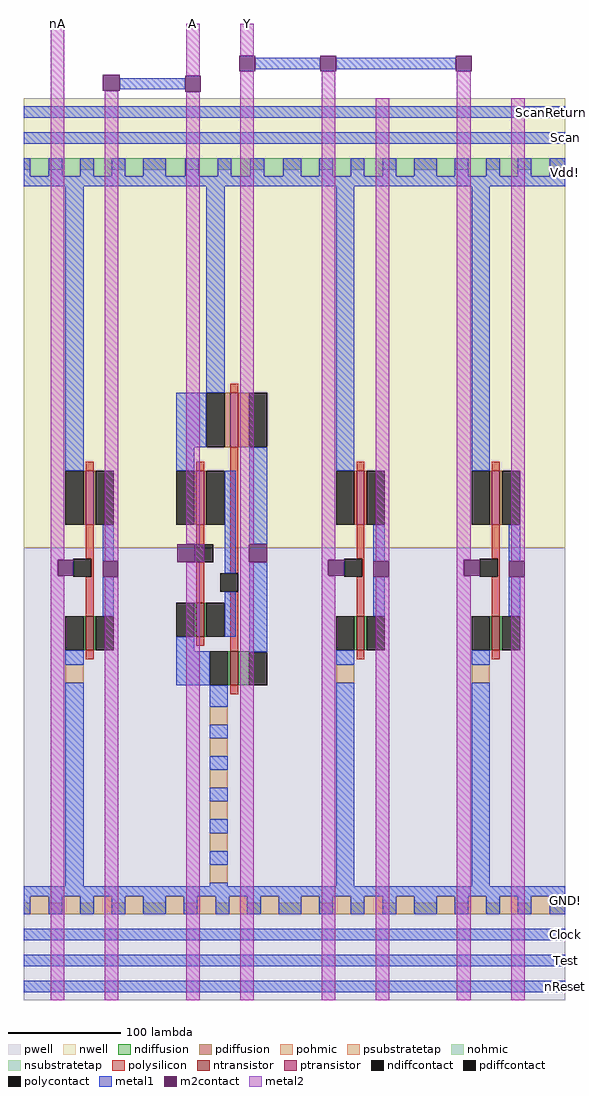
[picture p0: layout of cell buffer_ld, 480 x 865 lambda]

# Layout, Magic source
magic
tech c035u
<< nwell >>
rect 0 401 480 799
<< pwell >>
rect 0 0 480 401
<< polysilicon >>
rect 183 538 190 546
rect 55 469 62 477
rect 153 469 160 477
rect 55 391 62 421
rect 153 404 160 421
rect 60 375 62 391
rect 55 340 62 375
rect 153 352 160 388
rect 183 378 190 490
rect 295 469 302 477
rect 415 469 422 477
rect 295 391 302 421
rect 415 391 422 421
rect 300 375 302 391
rect 420 375 422 391
rect 153 314 160 322
rect 55 302 62 310
rect 183 309 190 362
rect 295 340 302 375
rect 415 340 422 375
rect 295 302 302 310
rect 415 302 422 310
rect 183 271 190 279
<< ndiffusion >>
rect 53 310 55 340
rect 62 310 64 340
rect 151 322 153 352
rect 160 322 162 352
rect 293 310 295 340
rect 302 310 304 340
rect 413 310 415 340
rect 422 310 424 340
rect 181 279 183 309
rect 190 308 216 309
rect 190 279 200 308
<< pdiffusion >>
rect 178 490 183 538
rect 190 490 200 538
rect 53 421 55 469
rect 62 421 64 469
rect 151 421 153 469
rect 160 421 162 469
rect 293 421 295 469
rect 302 421 304 469
rect 413 421 415 469
rect 422 421 424 469
<< pohmic >>
rect 0 76 6 86
rect 22 76 34 86
rect 50 76 62 86
rect 78 76 90 86
rect 106 76 126 86
rect 142 76 154 86
rect 170 76 182 86
rect 198 76 210 86
rect 226 76 246 86
rect 262 76 274 86
rect 290 76 302 86
rect 318 76 330 86
rect 346 76 366 86
rect 382 76 394 86
rect 410 76 422 86
rect 438 76 450 86
rect 466 76 480 86
<< nohmic >>
rect 0 736 6 746
rect 22 736 34 746
rect 50 736 62 746
rect 78 736 90 746
rect 106 736 126 746
rect 143 736 155 746
rect 172 736 184 746
rect 201 736 213 746
rect 230 736 246 746
rect 262 736 274 746
rect 290 736 302 746
rect 318 736 330 746
rect 346 736 366 746
rect 382 736 394 746
rect 410 736 422 746
rect 438 736 450 746
rect 466 736 480 746
<< ntransistor >>
rect 55 310 62 340
rect 153 322 160 352
rect 295 310 302 340
rect 415 310 422 340
rect 183 279 190 309
<< ptransistor >>
rect 183 490 190 538
rect 55 421 62 469
rect 153 421 160 469
rect 295 421 302 469
rect 415 421 422 469
<< polycontact >>
rect 44 375 60 391
rect 152 388 168 404
rect 174 362 190 378
rect 284 375 300 391
rect 404 375 420 391
<< ndiffcontact >>
rect 37 310 53 340
rect 64 310 80 340
rect 135 322 151 352
rect 162 322 178 352
rect 277 310 293 340
rect 304 310 320 340
rect 397 310 413 340
rect 424 310 440 340
rect 165 279 181 309
rect 200 279 216 308
<< pdiffcontact >>
rect 162 490 178 538
rect 200 490 216 538
rect 37 421 53 469
rect 64 421 80 469
rect 135 421 151 469
rect 162 421 178 469
rect 277 421 293 469
rect 304 421 320 469
rect 397 421 413 469
rect 424 421 440 469
<< psubstratetap >>
rect 37 281 53 297
rect 277 281 293 297
rect 397 281 413 297
rect 165 244 181 260
rect 165 216 181 232
rect 165 188 181 204
rect 165 160 181 176
rect 165 132 181 148
rect 165 104 181 120
rect 6 76 22 92
rect 34 76 50 92
rect 62 76 78 92
rect 90 76 106 92
rect 126 76 142 92
rect 154 76 170 92
rect 182 76 198 92
rect 210 76 226 92
rect 246 76 262 92
rect 274 76 290 92
rect 302 76 318 92
rect 330 76 346 92
rect 366 76 382 92
rect 394 76 410 92
rect 422 76 438 92
rect 450 76 466 92
<< nsubstratetap >>
rect 6 730 22 746
rect 34 730 50 746
rect 62 730 78 746
rect 90 730 106 746
rect 126 730 143 746
rect 155 730 172 746
rect 184 730 201 746
rect 213 730 230 746
rect 246 730 262 746
rect 274 730 290 746
rect 302 730 318 746
rect 330 730 346 746
rect 366 730 382 746
rect 394 730 410 746
rect 422 730 438 746
rect 450 730 466 746
<< metal1 >>
rect 205 825 263 835
rect 277 825 383 835
rect 85 807 143 817
rect 0 782 480 792
rect 0 759 480 769
rect 0 730 6 746
rect 22 730 34 746
rect 50 730 62 746
rect 78 730 90 746
rect 106 730 126 746
rect 143 730 155 746
rect 172 730 184 746
rect 201 730 213 746
rect 230 730 246 746
rect 262 730 274 746
rect 290 730 302 746
rect 318 730 330 746
rect 346 730 366 746
rect 382 730 394 746
rect 410 730 422 746
rect 438 730 450 746
rect 466 730 480 746
rect 0 721 480 730
rect 37 469 53 721
rect 162 538 178 721
rect 135 490 162 538
rect 135 469 151 490
rect 70 389 80 421
rect 178 378 188 469
rect 200 404 216 490
rect 277 469 293 721
rect 397 469 413 721
rect 70 340 80 375
rect 178 322 188 362
rect 37 297 53 310
rect 37 101 53 281
rect 135 309 151 322
rect 135 279 165 309
rect 200 308 216 388
rect 310 389 320 421
rect 430 389 440 421
rect 310 340 320 375
rect 430 340 440 375
rect 277 297 293 310
rect 165 260 181 279
rect 165 232 181 244
rect 165 204 181 216
rect 165 176 181 188
rect 165 148 181 160
rect 165 120 181 132
rect 165 101 181 104
rect 277 101 293 281
rect 397 297 413 310
rect 397 101 413 281
rect 0 92 480 101
rect 0 76 6 92
rect 22 76 34 92
rect 50 76 62 92
rect 78 76 90 92
rect 106 76 126 92
rect 142 76 154 92
rect 170 76 182 92
rect 198 76 210 92
rect 226 76 246 92
rect 262 76 274 92
rect 290 76 302 92
rect 318 76 330 92
rect 346 76 366 92
rect 382 76 394 92
rect 410 76 422 92
rect 438 76 450 92
rect 466 76 480 92
rect 0 53 480 63
rect 0 30 480 40
rect 0 7 480 17
<< m2contact >>
rect 191 823 205 837
rect 263 823 277 837
rect 383 823 397 837
rect 70 806 85 820
rect 143 805 157 819
rect 30 376 44 390
rect 70 375 84 389
rect 136 388 152 404
rect 200 388 216 404
rect 270 376 284 390
rect 310 375 324 389
rect 390 376 404 390
rect 430 375 444 389
<< metal2 >>
rect 24 390 36 865
rect 144 819 156 865
rect 192 837 204 865
rect 24 376 30 390
rect 72 389 84 806
rect 144 404 156 805
rect 192 404 204 823
rect 24 0 36 376
rect 152 388 160 404
rect 192 388 200 404
rect 264 390 276 823
rect 72 0 84 375
rect 144 0 156 388
rect 192 0 204 388
rect 264 376 270 390
rect 312 389 324 799
rect 264 0 276 376
rect 312 0 324 375
rect 384 390 396 823
rect 384 376 390 390
rect 432 389 444 799
rect 384 0 396 376
rect 432 0 444 375
<< labels >>
rlabel metal1 480 721 480 746 7 Vdd!
rlabel metal1 480 759 480 769 7 Scan
rlabel metal1 480 782 480 792 6 ScanReturn
rlabel metal1 480 7 480 17 8 nReset
rlabel metal1 480 30 480 40 7 Test
rlabel metal1 480 53 480 63 7 Clock
rlabel metal1 480 76 480 101 7 GND!
rlabel metal2 24 865 36 865 5 nA
rlabel metal2 144 865 156 865 5 A
rlabel metal2 192 865 204 865 5 Y
<< end >>
